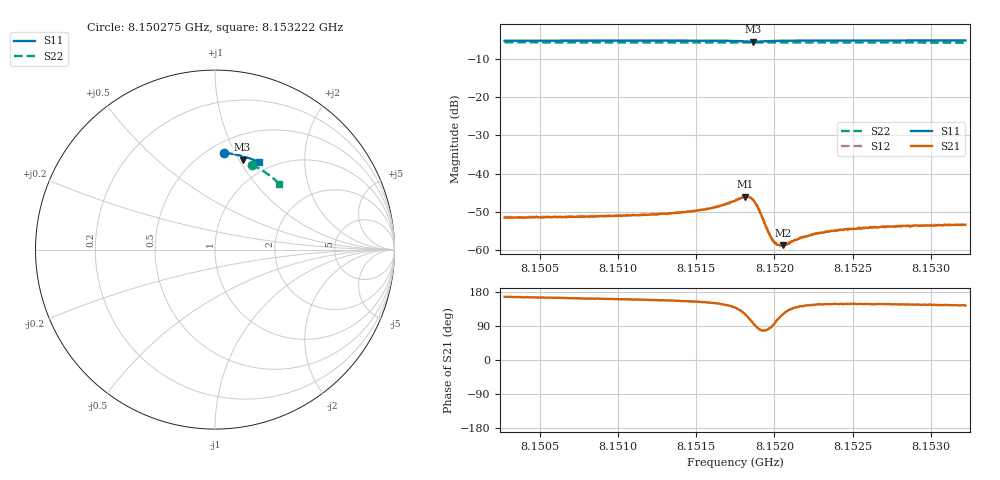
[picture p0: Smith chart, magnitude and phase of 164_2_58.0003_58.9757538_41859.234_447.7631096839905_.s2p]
#  HZ  S  RI  R  50.00
! Rohde & Schwarz Vector Network Analyzer
! Rohde-Schwarz,ZNB20-2Port,1311601062101988,3.16
! Created: UTC 3/21/2024, 12:57:39 AM
! freq[Hz]  re:S11  im:S11  re:S21  im:S21  re:S12  im:S12  re:S22  im:S22
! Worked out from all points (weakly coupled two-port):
!   401 points, 8.150275 GHz to 8.153222 GHz, reference 50 ohm
!   highest |S21| = -46.00 dB at 8.151814 GHz (marker M1); lowest = -58.7 dB at 8.152058 GHz (marker M2)
!   lowest |S11| = -5.6 dB at 8.151866 GHz (marker M3), VSWR 3.21, Z = 37.4 + j51.8 ohm
!   |S11| at or under -10 dB: nowhere
!   |S22| runs from -5.8 to -5.8 dB; largest |S21 - S12| = 0.00012
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8.1502748e9  0.0508 0.5387  -0.00261 0.000612  -0.00261 0.00066  0.2038 0.4734
8.1507683e9  0.0855 0.535  -0.00261 0.000832  -0.00265 0.000883  0.2323 0.4594
8.1512619e9  0.1204 0.529  -0.00276 0.00113  -0.00277 0.00118  0.2601 0.4437
8.1515492e9  0.1417 0.5232  -0.00301 0.00157  -0.00304 0.00164  0.2756 0.4336
8.1516671e9  0.1512 0.5191  -0.00324 0.00211  -0.00324 0.00216  0.2819 0.4294
8.1517481e9  0.1578 0.5138  -0.0033 0.00294  -0.00333 0.00305  0.2862 0.4263
8.1518145e9  0.1598 0.5055  -0.00251 0.00434  -0.00247 0.0044  0.2894 0.4235
8.1518439e9  0.157 0.5021  -0.00141 0.00469  -0.00139 0.00472  0.2908 0.4224
8.151866e9  0.1537 0.5018  -0.000465 0.00448  -0.000431 0.0045  0.2916 0.4216
8.1518881e9  0.1511 0.5038  0.000234 0.00381  0.000305 0.00383  0.2928 0.4209
8.1519029e9  0.1503 0.5059  0.00051 0.00328  0.00055 0.00333  0.2935 0.4205
8.1519471e9  0.1524 0.5115  0.000383 0.00198  0.000451 0.002  0.2959 0.4191
8.1519839e9  0.1562 0.5139  2.9e-05 0.0014  2.41e-05 0.00145  0.2978 0.4178
8.152006e9  0.1586 0.5146  -0.000192 0.00125  -0.000192 0.00121  0.2989 0.4169
8.1520207e9  0.1601 0.5149  -0.000335 0.00113  -0.000347 0.00112  0.2997 0.4164
8.1520576e9  0.1638 0.5151  -0.000605 0.000998  -0.000627 0.00104  0.3018 0.4148
8.1521681e9  0.1734 0.514  -0.00115 0.000887  -0.00115 0.000935  0.3076 0.4105
8.1522417e9  0.1792 0.5127  -0.00132 0.000899  -0.00132 0.000931  0.3111 0.4078
8.1523522e9  0.1875 0.5102  -0.00149 0.000951  -0.00146 0.000987  0.3168 0.4033
8.1525217e9  0.1993 0.5064  -0.00161 0.00102  -0.00163 0.00107  0.3251 0.3964
8.1527353e9  0.2136 0.5009  -0.00174 0.00111  -0.0017 0.00112  0.3353 0.3872
8.1532215e9  0.2449 0.4872  -0.00174 0.00128  -0.00178 0.00133  0.3576 0.3658
